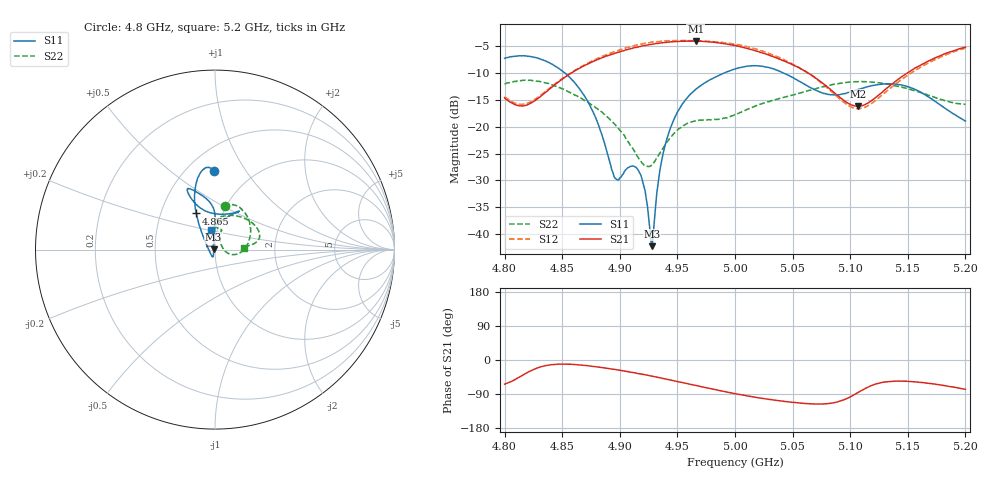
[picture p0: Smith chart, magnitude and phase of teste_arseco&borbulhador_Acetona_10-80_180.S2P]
! Network Analyzer HP8722D
! Hewlett-Packard
! Data name: Linha & Wilkinson
! Saver's name: Rodrigo Anjos
! Comments: Teste da utilização de aquisição
! continua pelo VNA HP8722D
! Time and date: 25/4/2025 16:46
!  Frequency  S11  S21  S12  S22
# HZ  S  MA R 50
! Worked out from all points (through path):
!   401 points, 4.8 GHz to 5.2 GHz, reference 50 ohm
!   highest |S21| = -4.00 dB at 4.966 GHz (marker M1); lowest = -16.2 dB at 5.107 GHz (marker M2)
!   lowest |S11| = -42.3 dB at 4.928 GHz (marker M3), VSWR 1.02, Z = 49.2 + j0.0743 ohm
!   |S11| at or under -10 dB: 4.853 GHz to 4.99 GHz (137.8 MHz wide, 2.8 % of centre); 5.043 GHz to end of sweep
!   |S22| runs from -27.4 to -11.3 dB; largest |S21 - S12| = 1.2
!   S11 on the Smith chart (normalised r, x): 4.8 GHz: 0.67, +0.72; 4.865 GHz: 0.75, +0.32; 5.2 GHz: 0.93, +0.21
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4.8e9  0.4359 91.0  0.1861 -63.9  0.191 69.6  0.2494 77.6
4.82e9  0.4548 97.3  0.1608 -32.6  0.1665 98.1  0.273 62.0
4.845e9  0.3626 107.6  0.2533 -11.3  0.2572 119.4  0.2388 34.5
4.865e9  0.2265 117.4  0.3519 -12.9  0.3565 120.9  0.1888 11.3
4.867e9  0.2115 118.5  0.362 -13.6  0.3656 120.8  0.1834 9.1
4.88e9  0.1146 128.6  0.4202 -18.3  0.4317 118.5  0.149 -4.7
4.896e9  0.0331 -170.6  0.4854 -25.1  0.5052 113.3  0.105 -15.5
4.91e9  0.04292 -108.2  0.537 -32.4  0.562 107.3  0.06563 -13.2
4.917e9  0.03753 -105.1  0.5595 -36.2  0.5873 103.8  0.04959 -0.9
4.921e9  0.02766 -108.5  0.573 -38.4  0.5982 101.4  0.04399 11.9
4.928e9  0.007716 174.4  0.5895 -42.7  0.6167 97.2  0.04454 40.8
4.934e9  0.03415 100.3  0.6023 -46.3  0.6257 93.4  0.05536 57.2
4.939e9  0.06517 93.7  0.6133 -49.5  0.6332 90.2  0.06716 65.2
4.946e9  0.1109 90.2  0.621 -54.3  0.6367 85.8  0.08416 69.4
4.966e9  0.2242 91.7  0.6313 -67.3  0.6346 72.9  0.1136 71.3
5e9  0.3468 109.2  0.5736 -88.9  0.591 50.9  0.1306 88.2
5.03e9  0.3559 115.4  0.4633 -104.1  0.4815 33.9  0.1723 85.6
5.067e9  0.2287 105.7  0.3015 -115.7  0.2984 23.6  0.2223 57.2
5.107e9  0.2234 64.8  0.1554 -85.5  0.1476 57.6  0.2638 24.3
5.134e9  0.2519 57.9  0.24 -56.7  0.2253 88.7  0.2486 12.5
5.168e9  0.1904 69.9  0.4113 -61.7  0.3949 85.4  0.1968 7.1
5.2e9  0.1135 101.0  0.5533 -77.3  0.5434 70.3  0.1619 3.8
